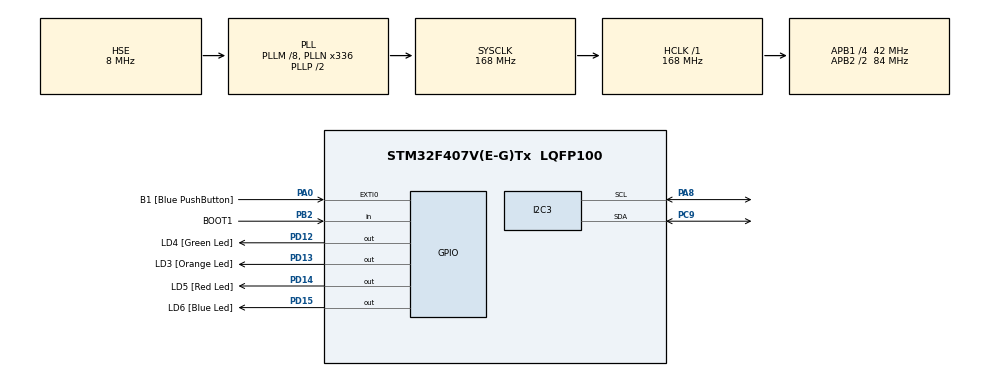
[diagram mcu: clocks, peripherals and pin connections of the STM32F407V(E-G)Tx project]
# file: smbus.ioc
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Mcu.Family=STM32F4
Mcu.Name=STM32F407V(E-G)Tx
Mcu.Package=LQFP100
NVIC.I2C3_ER_IRQn=true\:0\:0\:false\:false\:true\:true\:true\:true
NVIC.I2C3_EV_IRQn=true\:0\:0\:false\:false\:true\:true\:true\:true
NVIC.PriorityGroup=NVIC_PRIORITYGROUP_0
PA0-WKUP.GPIO_Label=B1 [Blue PushButton]
PA0-WKUP.GPIO_ModeDefaultEXTI=GPIO_MODE_EVT_RISING
PA0-WKUP.GPIO_PuPd=GPIO_NOPULL
PA0-WKUP.Signal=GPXTI0
PA13.GPIO_Label=SWDIO
PA13.Mode=Trace_Asynchronous_SW
PA13.Signal=SYS_JTMS-SWDIO
PA14.GPIO_Label=SWCLK
PA14.Mode=Trace_Asynchronous_SW
PA14.Signal=SYS_JTCK-SWCLK
PA8.Mode=SMBus-two-wire-Interface
PA8.Signal=I2C3_SCL
PB2.GPIO_Label=BOOT1
PB2.GPIO_Mode=GPIO_MODE_INPUT
PB2.GPIO_PuPd=GPIO_NOPULL
PB2.Signal=GPIO_Input
PB3.GPIO_Label=SWO
PB3.Mode=Trace_Asynchronous_SW
PB3.Signal=SYS_JTDO-SWO
PC14-OSC32_IN.GPIO_Label=PC14-OSC32_IN
PC14-OSC32_IN.Mode=LSE-External-Oscillator
PC14-OSC32_IN.Signal=RCC_OSC32_IN
PC15-OSC32_OUT.GPIO_Label=PC15-OSC32_OUT
PC15-OSC32_OUT.Mode=LSE-External-Oscillator
PC15-OSC32_OUT.Signal=RCC_OSC32_OUT
PC9.Mode=SMBus-two-wire-Interface
PC9.Signal=I2C3_SDA
PD12.GPIO_Label=LD4 [Green Led]
PD12.GPIO_PuPd=GPIO_NOPULL
PD12.GPIO_Speed=GPIO_SPEED_FREQ_LOW
PD12.Signal=GPIO_Output
PD13.GPIO_Label=LD3 [Orange Led]
PD13.GPIO_PuPd=GPIO_NOPULL
PD13.GPIO_Speed=GPIO_SPEED_FREQ_LOW
PD13.Signal=GPIO_Output
PD14.GPIO_Label=LD5 [Red Led]
PD14.GPIO_PuPd=GPIO_NOPULL
PD14.GPIO_Speed=GPIO_SPEED_FREQ_LOW
PD14.Signal=GPIO_Output
PD15.GPIO_Label=LD6 [Blue Led]
PD15.GPIO_PuPd=GPIO_NOPULL
PD15.GPIO_Speed=GPIO_SPEED_FREQ_LOW
PD15.Signal=GPIO_Output
PH0-OSC_IN.GPIO_Label=PH0-OSC_IN
PH0-OSC_IN.Mode=HSE-External-Oscillator
PH0-OSC_IN.Signal=RCC_OSC_IN
PH1-OSC_OUT.GPIO_Label=PH1-OSC_OUT
PH1-OSC_OUT.Mode=HSE-External-Oscillator
PH1-OSC_OUT.Signal=RCC_OSC_OUT
ProjectManager.HeapSize=0x200
ProjectManager.StackSize=0x400
ProjectManager.TargetToolchain=Makefile
RCC.48MHZClocksFreq_Value=48000000
RCC.AHBFreq_Value=168000000
RCC.APB1CLKDivider=RCC_HCLK_DIV4
RCC.APB1Freq_Value=42000000
RCC.APB1TimFreq_Value=84000000
RCC.APB2CLKDivider=RCC_HCLK_DIV2
RCC.APB2Freq_Value=84000000
RCC.APB2TimFreq_Value=168000000
RCC.CortexFreq_Value=168000000
RCC.HCLKFreq_Value=168000000
RCC.HSE_VALUE=8000000
RCC.HSI_VALUE=16000000
RCC.PLLM=8
RCC.PLLN=336
RCC.PLLQ=7
RCC.PLLSourceVirtual=RCC_PLLSOURCE_HSE
RCC.SYSCLKFreq_VALUE=168000000
RCC.SYSCLKSource=RCC_SYSCLKSOURCE_PLLCLK
RCC.VCOOutputFreq_Value=336000000
STMicroelectronics.X-CUBE-SMBUS.2.1.0.PMBus_version=3
STMicroelectronics.X-CUBE-SMBUS.2.1.0.SMB_arp=0
STMicroelectronics.X-CUBE-SMBUS.2.1.0.SMB_discoverable=1
board=STM32F407G-DISC1

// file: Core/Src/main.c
/* USER CODE BEGIN Header */
/**
 ******************************************************************************
 * @file           : main.c
 * @brief          : Main program body
 ******************************************************************************
 * @attention
 *
 * Copyright (c) 2023 STMicroelectronics.
 * All rights reserved.
 *
 * This software is licensed under terms that can be found in the LICENSE file
 * in the root directory of this software component.
 * If no LICENSE file comes with this software, it is provided AS-IS.
 *
 ******************************************************************************
 */
/* USER CODE END Header */
#include "main.h"

/* USER CODE BEGIN Includes */
#include <stdio.h>

/* USER CODE END Includes */

/* USER CODE BEGIN PD */
#define DEV_ADDR 0x0B << 1
enum SMBUS_INQ_T {
  INQ_SMBUS_NONE = 0x00,
  INQ_SMBUS_SPECINFO = 0x1A,
  INQ_SMBUS_VOLTAGE = 0x09,
  INQ_SMBUS_CURRENT = 0x0A,
  INQ_SMBUS_FULL_CHARGE_CAPACITY = 0x10,
  INQ_SMBUS_REMAINING_CAPACITY = 0x0F,
  INQ_SMBUS_TEMP = 0x08,
  INQ_SMBUS_SERIAL = 0x1C,
  INQ_SMBUS_CYCLE_COUNT = 0x17,
  INQ_SMBUS_CELL1_VOLT = 0x3f,  // cell 1
  INQ_SMBUS_CELL2_VOLT = 0x3e,  // cell 2
  INQ_SMBUS_CELL3_VOLT = 0x3d,  // cell 3
  INQ_SMBUS_CELL4_VOLT = 0x3c,  // cell 4
  INQ_SMBUS_CELL5_VOLT = 0x3b,  // cell 5
  INQ_SMBUS_CELL6_VOLT = 0x3a,  // cell 6
  INQ_SMBUS_CELL7_VOLT = 0x39,  // cell 7
  INQ_SMBUS_CELL8_VOLT = 0x38,  // cell 8
  INQ_SMBUS_CELL9_VOLT = 0x37,  // cell 9
  INQ_SMBUS_CELL10_VOLT = 0x36, // cell 10
  INQ_SMBUS_CELL11_VOLT = 0x35, // cell 11
  INQ_SMBUS_CELL12_VOLT = 0x34, // cell 12
} SMBUS_INQ;

/* USER CODE END PD */

/* USER CODE BEGIN PM */
#if 1
#define DEBUG(fmt, args...)                                                    \
  do {                                                                         \
    printf(fmt, ##args);                                                       \
  } while (0)
#else

#define DEBUG(fmt, args...)
#endif
#ifndef SMBUS
#define SMBUS 1
#endif

/* USER CODE END PM */

SMBUS_HandleTypeDef hsmbus3;

/* USER CODE BEGIN PV */

static uint8_t opcode = 0;
static uint8_t specinfo_answer[] = {0x10, 0x0};
static uint8_t make_reset = 0;
static SMBUS_HandleTypeDef* smbus_handle_ptr = &hsmbus3;

/* USER CODE END PV */

void SystemClock_Config(void);
static void MX_GPIO_Init(void);
static void MX_I2C3_SMBUS_Init(void);
/* USER CODE BEGIN PFP */
void stdio_setup();
void reply_to_master();
/* USER CODE END PFP */

/* USER CODE BEGIN 0 */
#if SMBUS
void HAL_SMBUS_AddrCallback(SMBUS_HandleTypeDef *hsmbus,
                            uint8_t TransferDirection, uint16_t AddrMatchCode) {
  if (AddrMatchCode != DEV_ADDR) {
    return;
  }
  if (TransferDirection == SMBUS_DIRECTION_TRANSMIT) {
    HAL_SMBUS_Slave_Receive_IT(smbus_handle_ptr, &opcode, 1, SMBUS_FIRST_FRAME);
  } else {
    reply_to_master();
  }
}

void reply_to_master() {
  uint16_t batt_voltage = 5000; // in millivolts
  uint16_t cell_voltage = 5000; // in millivolts
  int16_t current = 1000;       // in milliamps
  uint16_t zero_answer = 0x00;
  uint16_t capacity_mah = 1500;
  uint16_t remaining_capacity_mah = 1000;
  int16_t temp_canti_kelvin = (273.15 + 30) * 10; // 30 degrees
  uint16_t serial_num = 0x0001;
  uint16_t cycle_count = 1;

  switch (opcode) {
  case INQ_SMBUS_SPECINFO:
    HAL_SMBUS_Slave_Transmit_IT(smbus_handle_ptr, specinfo_answer, 2,
                                SMBUS_LAST_FRAME_NO_PEC);
    DEBUG("replied specinfo\n");
    break;
  case INQ_SMBUS_VOLTAGE:
    HAL_SMBUS_Slave_Transmit_IT(smbus_handle_ptr, (uint8_t *)&batt_voltage, 2,
                                SMBUS_LAST_FRAME_NO_PEC);
    DEBUG("replied batt_voltage\n");
    break;
  case INQ_SMBUS_CURRENT:
    HAL_SMBUS_Slave_Transmit_IT(smbus_handle_ptr, (uint8_t *)&current, 2,
                                SMBUS_LAST_FRAME_NO_PEC);
    DEBUG("replied batt_voltage\n");
    break;
  case INQ_SMBUS_FULL_CHARGE_CAPACITY:
    HAL_SMBUS_Slave_Transmit_IT(smbus_handle_ptr, (uint8_t *)&capacity_mah, 2,
                                SMBUS_LAST_FRAME_NO_PEC);
    DEBUG("replied capacity\n");
    break;
  case INQ_SMBUS_REMAINING_CAPACITY:
    HAL_SMBUS_Slave_Transmit_IT(smbus_handle_ptr, (uint8_t *)&remaining_capacity_mah, 2,
                                SMBUS_LAST_FRAME_NO_PEC);
    DEBUG("replied remaining_capacity\n");
    break;
  case INQ_SMBUS_TEMP:
    HAL_SMBUS_Slave_Transmit_IT(smbus_handle_ptr, (uint8_t *)&temp_canti_kelvin, 2,
                                SMBUS_LAST_FRAME_NO_PEC);
    DEBUG("replied temp\n");
    break;
  case INQ_SMBUS_SERIAL:
    HAL_SMBUS_Slave_Transmit_IT(smbus_handle_ptr, (uint8_t *)&serial_num, 2,
                                SMBUS_LAST_FRAME_NO_PEC);
    DEBUG("replied serial num\n");
    break;
  case INQ_SMBUS_CYCLE_COUNT:
    HAL_SMBUS_Slave_Transmit_IT(smbus_handle_ptr, (uint8_t *)&cycle_count, 2,
                                SMBUS_LAST_FRAME_NO_PEC);
    DEBUG("replied serial num\n");
    break;
  case INQ_SMBUS_CELL1_VOLT:
    HAL_SMBUS_Slave_Transmit_IT(smbus_handle_ptr, (uint8_t *)&cell_voltage, 2,
                                SMBUS_LAST_FRAME_NO_PEC);
    DEBUG("replied cell1 volt\n");
    break;
  case INQ_SMBUS_NONE:
    printf("opcode zero should never happen?\n");
    break;
  case INQ_SMBUS_CELL2_VOLT:
  case INQ_SMBUS_CELL3_VOLT:
  case INQ_SMBUS_CELL4_VOLT:
  case INQ_SMBUS_CELL5_VOLT:
  case INQ_SMBUS_CELL6_VOLT:
  case INQ_SMBUS_CELL7_VOLT:
  case INQ_SMBUS_CELL8_VOLT:
  case INQ_SMBUS_CELL9_VOLT:
  case INQ_SMBUS_CELL10_VOLT:
  case INQ_SMBUS_CELL11_VOLT:
  case INQ_SMBUS_CELL12_VOLT:
    // if we unuse cell, answer with zero
    HAL_SMBUS_Slave_Transmit_IT(smbus_handle_ptr, (uint8_t *)&zero_answer,
                                sizeof(zero_answer), SMBUS_LAST_FRAME_NO_PEC);
    DEBUG("replied to unused cell inq");
    break;
  default:
    // handle unknown opcode
    HAL_SMBUS_Slave_Transmit_IT(smbus_handle_ptr, (uint8_t *)&zero_answer,
                                sizeof(zero_answer), SMBUS_LAST_FRAME_NO_PEC);
    printf("SMBUS inq: %x\n", opcode);
    printf("replied with zeros to %x\n", opcode);
    break;
  }

  opcode = 0;
}

void HAL_SMBUS_ListenCpltCallback(SMBUS_HandleTypeDef *hsmbus) {
  HAL_SMBUS_EnableListen_IT(smbus_handle_ptr);
  // printf("listen cbk\n");
}

void HAL_SMBUS_SlaveRxCpltCallback(SMBUS_HandleTypeDef *hsmbus){
    // printf("rx cbk\n");
};

void HAL_SMBUS_AbortCpltCallback(SMBUS_HandleTypeDef *hsmbus){
    // printf("tx cbk\n");
};

void HAL_SMBUS_ErrorCallback(SMBUS_HandleTypeDef *SMBUSHandle) {
  uint32_t err = HAL_SMBUS_GetError(SMBUSHandle);
  HAL_GPIO_WritePin(LD5_GPIO_Port, LD5_Pin, GPIO_PIN_SET);
  switch (err) {
  case HAL_SMBUS_ERROR_BERR:
  case HAL_SMBUS_ERROR_ARLO:
  case HAL_SMBUS_ERROR_AF:
    printf("af");
    break;
  case HAL_SMBUS_ERROR_OVR:
    printf("ovr");
    break;
  case HAL_SMBUS_ERROR_TIMEOUT:
    printf("timeout");
    return;
  case HAL_SMBUS_ERROR_ALERT:
    printf("alert");
    break;
  case HAL_SMBUS_ERROR_PECERR:
    printf("pec");
    break;
  case HAL_SMBUS_ERROR_NONE:
  default:
    printf("err unknown %ld", err);
    break;
  }
  printf("\n");
  HAL_SMBUS_DisableListen_IT(smbus_handle_ptr);
  make_reset = 1;
}
#endif

/* USER CODE END 0 */

int main(void)
{

  /* MCU Configuration--------------------------------------------------------*/

  /* Reset of all peripherals, Initializes the Flash interface and the Systick. */
  HAL_Init();

  /* Configure the system clock */
  SystemClock_Config();

  /* Initialize all configured peripherals */
  MX_GPIO_Init();
  MX_I2C3_SMBUS_Init();
  /* USER CODE BEGIN 2 */
  stdio_setup();
#if SMBUS
  HAL_SMBUS_EnableListen_IT(smbus_handle_ptr);
#endif
  /* USER CODE END 2 */

  /* Infinite loop */
  /* USER CODE BEGIN WHILE */
  uint8_t reset_initiated = 0;
  uint32_t reset_initiated_time = 0;
  uint32_t blink_delay = 1000;
  while (1) {
    /* USER CODE END WHILE */

    /* USER CODE BEGIN 3 */
    HAL_GPIO_TogglePin(LD4_GPIO_Port, LD4_Pin);
#if SMBUS
    if (make_reset) {
      if (!reset_initiated) {
        HAL_GPIO_WritePin(LD5_GPIO_Port, LD5_Pin, GPIO_PIN_RESET);
        HAL_SMBUS_DeInit(smbus_handle_ptr);
        reset_initiated = 1;
        reset_initiated_time = HAL_GetTick();
        blink_delay = 100;
      }

      if (HAL_GetTick() - reset_initiated_time > 5000) {
        HAL_SMBUS_Init(smbus_handle_ptr);
        HAL_SMBUS_EnableListen_IT(smbus_handle_ptr);
        reset_initiated = 0;
        make_reset = 0;
        blink_delay = 1000;
      }
    }
#endif
    HAL_Delay(blink_delay);
  }
  /* USER CODE END 3 */
}

void SystemClock_Config(void)
{
  RCC_OscInitTypeDef RCC_OscInitStruct = {0};
  RCC_ClkInitTypeDef RCC_ClkInitStruct = {0};

  /** Configure the main internal regulator output voltage
  */
  __HAL_RCC_PWR_CLK_ENABLE();
  __HAL_PWR_VOLTAGESCALING_CONFIG(PWR_REGULATOR_VOLTAGE_SCALE1);

  /** Initializes the RCC Oscillators according to the specified parameters
  * in the RCC_OscInitTypeDef structure.
  */
  RCC_OscInitStruct.OscillatorType = RCC_OSCILLATORTYPE_HSE;
  RCC_OscInitStruct.HSEState = RCC_HSE_ON;
  RCC_OscInitStruct.PLL.PLLState = RCC_PLL_ON;
  RCC_OscInitStruct.PLL.PLLSource = RCC_PLLSOURCE_HSE;
  RCC_OscInitStruct.PLL.PLLM = 8;
  RCC_OscInitStruct.PLL.PLLN = 336;
  RCC_OscInitStruct.PLL.PLLP = RCC_PLLP_DIV2;
  RCC_OscInitStruct.PLL.PLLQ = 7;
  if (HAL_RCC_OscConfig(&RCC_OscInitStruct) != HAL_OK)
  {
    Error_Handler();
  }

  /** Initializes the CPU, AHB and APB buses clocks
  */
  RCC_ClkInitStruct.ClockType = RCC_CLOCKTYPE_HCLK|RCC_CLOCKTYPE_SYSCLK
                              |RCC_CLOCKTYPE_PCLK1|RCC_CLOCKTYPE_PCLK2;
  RCC_ClkInitStruct.SYSCLKSource = RCC_SYSCLKSOURCE_PLLCLK;
  RCC_ClkInitStruct.AHBCLKDivider = RCC_SYSCLK_DIV1;
  RCC_ClkInitStruct.APB1CLKDivider = RCC_HCLK_DIV4;
  RCC_ClkInitStruct.APB2CLKDivider = RCC_HCLK_DIV2;

  if (HAL_RCC_ClockConfig(&RCC_ClkInitStruct, FLASH_LATENCY_5) != HAL_OK)
  {
    Error_Handler();
  }
}

static void MX_I2C3_SMBUS_Init(void)
{

  hsmbus3.Instance = I2C3;
  hsmbus3.Init.ClockSpeed = 100000;
  hsmbus3.Init.OwnAddress1 = 0;
  hsmbus3.Init.AddressingMode = SMBUS_ADDRESSINGMODE_7BIT;
  hsmbus3.Init.DualAddressMode = SMBUS_DUALADDRESS_DISABLE;
  hsmbus3.Init.OwnAddress2 = 0;
  hsmbus3.Init.GeneralCallMode = SMBUS_GENERALCALL_DISABLE;
  hsmbus3.Init.NoStretchMode = SMBUS_NOSTRETCH_DISABLE;
  hsmbus3.Init.PacketErrorCheckMode = SMBUS_PEC_DISABLE;
  hsmbus3.Init.PeripheralMode = SMBUS_PERIPHERAL_MODE_SMBUS_SLAVE;
  if (HAL_SMBUS_Init(&hsmbus3) != HAL_OK)
  {
    Error_Handler();
  }
  /* USER CODE BEGIN I2C3_Init 2 */
  hsmbus3.Init.OwnAddress1 = DEV_ADDR;

  /* USER CODE END I2C3_Init 2 */

}

static void MX_GPIO_Init(void)
{
  GPIO_InitTypeDef GPIO_InitStruct = {0};

  /* GPIO Ports Clock Enable */
  __HAL_RCC_GPIOC_CLK_ENABLE();
  __HAL_RCC_GPIOH_CLK_ENABLE();
  __HAL_RCC_GPIOA_CLK_ENABLE();
  __HAL_RCC_GPIOB_CLK_ENABLE();
  __HAL_RCC_GPIOD_CLK_ENABLE();

  /*Configure GPIO pin Output Level */
  HAL_GPIO_WritePin(GPIOD, LD4_Pin|LD3_Pin|LD5_Pin|LD6_Pin, GPIO_PIN_RESET);

  /*Configure GPIO pin : B1_Pin */
  GPIO_InitStruct.Pin = B1_Pin;
  GPIO_InitStruct.Mode = GPIO_MODE_EVT_RISING;
  GPIO_InitStruct.Pull = GPIO_NOPULL;
  HAL_GPIO_Init(B1_GPIO_Port, &GPIO_InitStruct);

  /*Configure GPIO pin : BOOT1_Pin */
  GPIO_InitStruct.Pin = BOOT1_Pin;
  GPIO_InitStruct.Mode = GPIO_MODE_INPUT;
  GPIO_InitStruct.Pull = GPIO_NOPULL;
  HAL_GPIO_Init(BOOT1_GPIO_Port, &GPIO_InitStruct);

  /*Configure GPIO pins : LD4_Pin LD3_Pin LD5_Pin LD6_Pin */
  GPIO_InitStruct.Pin = LD4_Pin|LD3_Pin|LD5_Pin|LD6_Pin;
  GPIO_InitStruct.Mode = GPIO_MODE_OUTPUT_PP;
  GPIO_InitStruct.Pull = GPIO_NOPULL;
  GPIO_InitStruct.Speed = GPIO_SPEED_FREQ_LOW;
  HAL_GPIO_Init(GPIOD, &GPIO_InitStruct);

}

/* USER CODE BEGIN 4 */

int __io_putchar(int ch) {
  ITM_SendChar(ch);
  return ch;
}

/* USER CODE END 4 */

void Error_Handler(void)
{
  __disable_irq();
  while (1)
  {
  }
}

#ifdef  USE_FULL_ASSERT
/**
  * @brief  Reports the name of the source file and the source line number
  *         where the assert_param error has occurred.
  * @param  file: pointer to the source file name
  * @param  line: assert_param error line source number
  * @retval None
  */
void assert_failed(uint8_t *file, uint32_t line)
{
  /* USER CODE BEGIN 6 */
  /* User can add his own implementation to report the file name and line
     number, ex: printf("Wrong parameters value: file %s on line %d\r\n", file,
     line) */
  /* USER CODE END 6 */
}
#endif /* USE_FULL_ASSERT */
